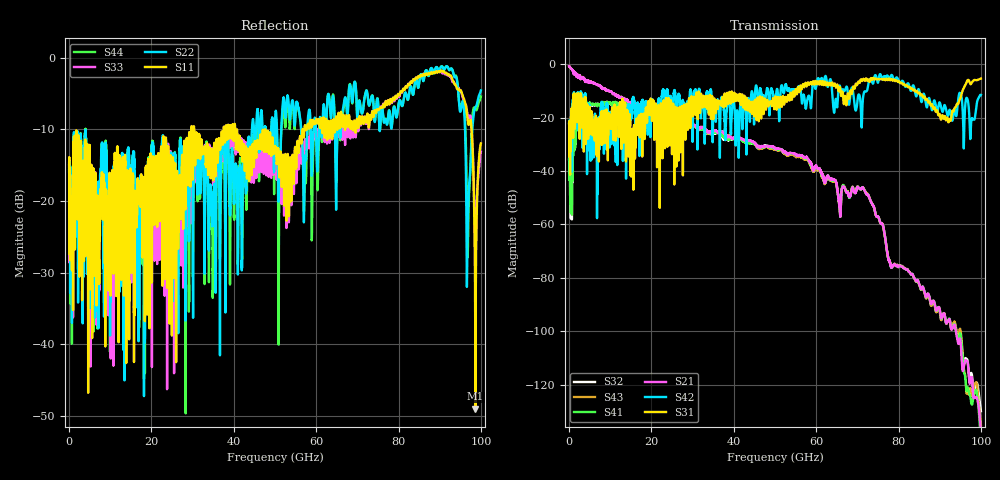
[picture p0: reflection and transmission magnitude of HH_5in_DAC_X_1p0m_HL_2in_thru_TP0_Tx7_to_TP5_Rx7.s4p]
# GHz S RI R 45
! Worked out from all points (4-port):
!   4000 points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, 25 MHz to 100 GHz, reference 45 ohm
!   strongest paths, dB at 25 MHz, 25.02 GHz, 50.02 GHz, 75.03 GHz, 100 GHz:
!     S31: -22.2, -31.6, -12.9, -5.6, -5.4
!     S42: -22.0, -22.6, -14.7, -7.0, -11.5
!     S21: -0.8, -23.4, -31.5, -57.0, -137.6
!     S41: -35.6, -18.4, -31.6, -57.0, -144.8
!     S43: -0.8, -24.0, -31.9, -57.0, -135.1
!     S32: -35.6, -18.4, -31.9, -57.0, -130.0
!   lowest |S11| = -49.0 dB at 98.67 GHz (marker M1), VSWR 1.01, Z = 45.3 + j0.00878 ohm
!   |S11| at or under -10 dB: start of sweep to 29.72 GHz; 40.35 GHz to 47.62 GHz (7.268 GHz wide, 16.5 % of centre); 47.64 GHz to 56.69 GHz (9.057 GHz wide, 17.4 % of centre)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
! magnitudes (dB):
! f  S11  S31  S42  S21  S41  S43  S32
! 25 MHz  -14.9  -22.2  -22.0  -0.8  -35.6  -0.8  -35.6
! 4.85 GHz  -15.0  -17.8  -17.4  -6.6  -15.0  -6.5  -15.0
! 25.85 GHz  -16.5  -16.4  -12.0  -23.5  -18.8  -24.1  -18.8
! 71.4 GHz  -9.0  -5.7  -12.3  -46.4  -46.3  -46.3  -46.4
! 90.62 GHz  -1.9  -19.1  -17.7  -94.6  -94.7  -94.6  -94.5
! 98.67 GHz  -49.0  -6.0  -18.7  -125.0  -122.3  -119.5  -120.6
! 100 GHz  -12.0  -5.4  -11.5  -137.6  -144.8  -135.1  -130.0
